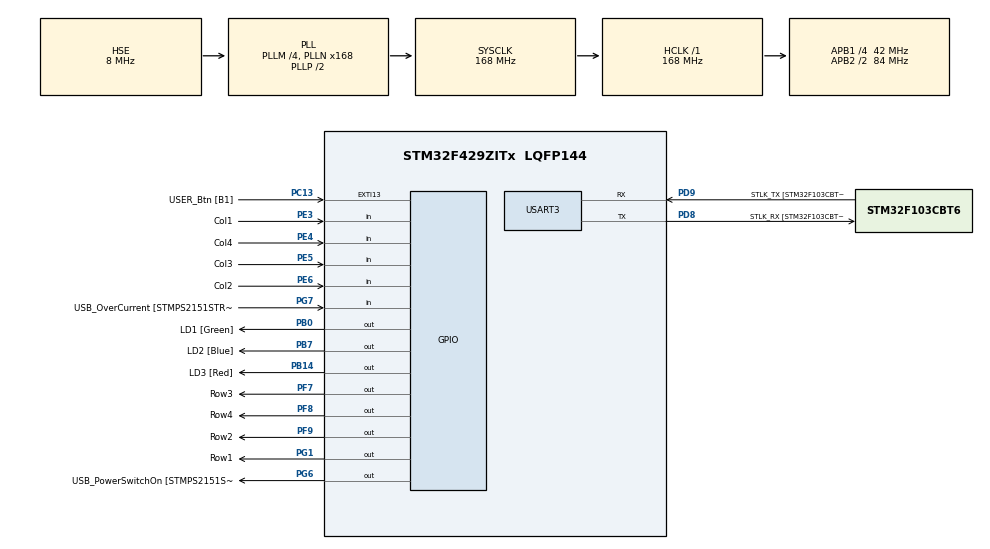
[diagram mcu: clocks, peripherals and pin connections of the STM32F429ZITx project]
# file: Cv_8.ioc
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Mcu.Family=STM32F4
Mcu.Name=STM32F429ZITx
Mcu.Package=LQFP144
NVIC.PriorityGroup=NVIC_PRIORITYGROUP_4
NVIC.TIM3_IRQn=true\:0\:0\:false\:false\:true\:true\:true
PA1.GPIO_Label=RMII_REF_CLK [LAN8742A-CZ-TR_REFCLK0]
PA1.Signal=ETH_REF_CLK
PA10.GPIO_Label=USB_ID
PA10.Signal=USB_OTG_FS_ID
PA11.GPIO_Label=USB_DM
PA11.Signal=USB_OTG_FS_DM
PA12.GPIO_Label=USB_DP
PA12.Signal=USB_OTG_FS_DP
PA13.GPIO_Label=TMS
PA13.Mode=Serial_Wire
PA13.Signal=SYS_JTMS-SWDIO
PA14.GPIO_Label=TCK
PA14.Mode=Serial_Wire
PA14.Signal=SYS_JTCK-SWCLK
PA2.GPIO_Label=RMII_MDIO [LAN8742A-CZ-TR_MDIO]
PA2.Signal=ETH_MDIO
PA7.GPIO_Label=RMII_CRS_DV [LAN8742A-CZ-TR_CRS_DV]
PA7.Signal=ETH_CRS_DV
PA8.GPIO_Label=USB_SOF [TP1]
PA8.Signal=USB_OTG_FS_SOF
PA9.GPIO_Label=USB_VBUS
PA9.Signal=USB_OTG_FS_VBUS
PB0.GPIO_Label=LD1 [Green]
PB0.Signal=GPIO_Output
PB13.GPIO_Label=RMII_TXD1 [LAN8742A-CZ-TR_TXD1]
PB13.Signal=ETH_TXD1
PB14.GPIO_Label=LD3 [Red]
PB14.Signal=GPIO_Output
PB7.GPIO_Label=LD2 [Blue]
PB7.Signal=GPIO_Output
PC1.GPIO_Label=RMII_MDC [LAN8742A-CZ-TR_MDC]
PC1.Signal=ETH_MDC
PC13.GPIO_Label=USER_Btn [B1]
PC13.Signal=GPXTI13
PC14/OSC32_IN.Mode=LSE-External-Oscillator
PC14/OSC32_IN.Signal=RCC_OSC32_IN
PC15/OSC32_OUT.Mode=LSE-External-Oscillator
PC15/OSC32_OUT.Signal=RCC_OSC32_OUT
PC4.GPIO_Label=RMII_RXD0 [LAN8742A-CZ-TR_RXD0]
PC4.Signal=ETH_RXD0
PC5.GPIO_Label=RMII_RXD1 [LAN8742A-CZ-TR_RXD1]
PC5.Signal=ETH_RXD1
PD8.GPIO_Label=STLK_RX [STM32F103CBT6_PA3]
PD8.Mode=Asynchronous
PD8.Signal=USART3_TX
PD9.GPIO_Label=STLK_TX [STM32F103CBT6_PA2]
PD9.Mode=Asynchronous
PD9.Signal=USART3_RX
PE3.GPIO_Label=Col1
PE3.GPIO_PuPd=GPIO_PULLUP
PE3.Signal=GPIO_Input
PE4.GPIO_Label=Col4
PE4.GPIO_PuPd=GPIO_PULLUP
PE4.Signal=GPIO_Input
PE5.GPIO_Label=Col3
PE5.GPIO_PuPd=GPIO_PULLUP
PE5.Signal=GPIO_Input
PE6.GPIO_Label=Col2
PE6.GPIO_PuPd=GPIO_PULLUP
PE6.Signal=GPIO_Input
PF7.GPIO_Label=Row3
PF7.GPIO_ModeDefaultOutputPP=GPIO_MODE_OUTPUT_OD
PF7.Signal=GPIO_Output
PF8.GPIO_Label=Row4
PF8.GPIO_ModeDefaultOutputPP=GPIO_MODE_OUTPUT_OD
PF8.Signal=GPIO_Output
PF9.GPIO_Label=Row2
PF9.GPIO_ModeDefaultOutputPP=GPIO_MODE_OUTPUT_OD
PF9.Signal=GPIO_Output
PG1.GPIO_Label=Row1
PG1.GPIO_ModeDefaultOutputPP=GPIO_MODE_OUTPUT_OD
PG1.Signal=GPIO_Output
PG11.GPIO_Label=RMII_TX_EN [LAN8742A-CZ-TR_TXEN]
PG11.Signal=ETH_TX_EN
PG13.GPIO_Label=RMII_TXD0 [LAN8742A-CZ-TR_TXD0]
PG13.Signal=ETH_TXD0
PG6.GPIO_Label=USB_PowerSwitchOn [STMPS2151STR_EN]
PG6.Signal=GPIO_Output
PG7.GPIO_Label=USB_OverCurrent [STMPS2151STR_FAULT]
PG7.Signal=GPIO_Input
PH0/OSC_IN.GPIO_Label=MCO [STM32F103CBT6_PA8]
PH0/OSC_IN.Mode=HSE-External-Clock-Source
PH0/OSC_IN.Signal=RCC_OSC_IN
PH1/OSC_OUT.Mode=HSE-External-Clock-Source
PH1/OSC_OUT.Signal=RCC_OSC_OUT
ProjectManager.HeapSize=0x200
ProjectManager.StackSize=0x400
ProjectManager.TargetToolchain=STM32CubeIDE
RCC.48MHZClocksFreq_Value=48000000
RCC.AHBFreq_Value=168000000
RCC.APB1CLKDivider=RCC_HCLK_DIV4
RCC.APB1Freq_Value=42000000
RCC.APB1TimFreq_Value=84000000
RCC.APB2CLKDivider=RCC_HCLK_DIV2
RCC.APB2Freq_Value=84000000
RCC.APB2TimCLKDivider=2
RCC.APB2TimFreq_Value=168000000
RCC.CortexFreq_Value=168000000
RCC.HCLKFreq_Value=168000000
RCC.HSE_VALUE=8000000
RCC.HSI_VALUE=16000000
RCC.PLLM=4
RCC.PLLMUL=RCC_PLL_MUL9
RCC.PLLN=168
RCC.PLLQ=7
RCC.PLLSourceVirtual=RCC_PLLSOURCE_HSE
RCC.PRESCALERUSB=RCC_USBCLKSOURCE_PLL_DIV1_5
RCC.SYSCLKFreq_VALUE=168000000
RCC.SYSCLKSource=RCC_SYSCLKSOURCE_PLLCLK
RCC.SYSCLKSourceVirtual=RCC_SYSCLKSOURCE_PLLCLK
RCC.USBFreq_Value=48000000
RCC.VCOOutputFreq_Value=336000000
TIM3.AutoReloadPreload=TIM_AUTORELOAD_PRELOAD_ENABLE
TIM3.Period=99
TIM3.Prescaler=8399
USART3.VirtualMode=VM_ASYNC
VP_TIM3_VS_ClockSourceINT.Mode=Internal
board=NUCLEO-F429ZI

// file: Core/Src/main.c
/* USER CODE BEGIN Header */
/**
 ******************************************************************************
 * @file           : main.c
 * @brief          : Main program body
 ******************************************************************************
 * @attention
 *
 * <h2><center>&copy; Copyright (c) 2021 STMicroelectronics.
 * All rights reserved.</center></h2>
 *
 * This software component is licensed by ST under BSD 3-Clause license,
 * the "License"; You may not use this file except in compliance with the
 * License. You may obtain a copy of the License at:
 *                        opensource.org/licenses/BSD-3-Clause
 *
 ******************************************************************************
 */
/* USER CODE END Header */
#include "main.h"

/* USER CODE BEGIN Includes */
#include <stdio.h>
/* USER CODE END Includes */

TIM_HandleTypeDef htim3;

UART_HandleTypeDef huart3;

/* USER CODE BEGIN PV */
static volatile int key;
/* USER CODE END PV */

void SystemClock_Config(void);
static void MX_GPIO_Init(void);
static void MX_USART3_UART_Init(void);
static void MX_TIM3_Init(void);

/* USER CODE BEGIN 0 */

int __io_putchar(int ch)
{
	ITM_SendChar(ch);
	return 0;
}
/* USER CODE END 0 */

int main(void)
{
	/* USER CODE BEGIN 1 */
	const int code[5] = {7, 9, 3, 2, 12};
	uint8_t mistake = 0;
	uint8_t var = 0;
	static uint16_t timeout = 2000;
	static uint32_t tick;
	/* USER CODE END 1 */

	/* MCU Configuration--------------------------------------------------------*/

	/* Reset of all peripherals, Initializes the Flash interface and the Systick. */
	HAL_Init();

	/* Configure the system clock */
	SystemClock_Config();

	/* Initialize all configured peripherals */
	MX_GPIO_Init();
	MX_USART3_UART_Init();
	MX_TIM3_Init();
	/* USER CODE BEGIN 2 */
	HAL_TIM_Base_Start_IT(&htim3);
	/* USER CODE END 2 */

	/* Infinite loop */
	/* USER CODE BEGIN WHILE */
	while (1)
	{
		//	  HAL_GPIO_TogglePin(LD1_GPIO_Port, LD1_Pin);
		//	  HAL_Delay(250);
		if (key != -1){
			tick = HAL_GetTick();
			HAL_Delay(250);
			if ((key == code[var]) && key != 24){
				var++;
			}
			else if((key != 24)){
				mistake = 1;
				var++;
			}
			else{
				mistake = 0;
				var = 0;
			}
			if(var == sizeof(code)/sizeof(code[0])){
				if (mistake == 0){
					printf("Verified \n");
					HAL_GPIO_WritePin(LD1_GPIO_Port, LD1_Pin, 1);
				}
				else{
					HAL_GPIO_WritePin(LD1_GPIO_Port, LD1_Pin, 0);
					printf("Fatal Error \n");
				}
				var = 0;

			}
			key = -1;
		}
		if(HAL_GetTick() > tick + timeout){
			HAL_GPIO_WritePin(LD1_GPIO_Port, LD1_Pin, 0);
			tick = HAL_GetTick();
			var = 0;
		}
		/* USER CODE END WHILE */

	}
}

void SystemClock_Config(void)
{
	RCC_OscInitTypeDef RCC_OscInitStruct = {0};
	RCC_ClkInitTypeDef RCC_ClkInitStruct = {0};

	/** Configure the main internal regulator output voltage
	 */
	__HAL_RCC_PWR_CLK_ENABLE();
	__HAL_PWR_VOLTAGESCALING_CONFIG(PWR_REGULATOR_VOLTAGE_SCALE1);
	/** Initializes the RCC Oscillators according to the specified parameters
	 * in the RCC_OscInitTypeDef structure.
	 */
	RCC_OscInitStruct.OscillatorType = RCC_OSCILLATORTYPE_HSE;
	RCC_OscInitStruct.HSEState = RCC_HSE_BYPASS;
	RCC_OscInitStruct.PLL.PLLState = RCC_PLL_ON;
	RCC_OscInitStruct.PLL.PLLSource = RCC_PLLSOURCE_HSE;
	RCC_OscInitStruct.PLL.PLLM = 4;
	RCC_OscInitStruct.PLL.PLLN = 168;
	RCC_OscInitStruct.PLL.PLLP = RCC_PLLP_DIV2;
	RCC_OscInitStruct.PLL.PLLQ = 7;
	if (HAL_RCC_OscConfig(&RCC_OscInitStruct) != HAL_OK)
	{
		Error_Handler();
	}
	/** Initializes the CPU, AHB and APB buses clocks
	 */
	RCC_ClkInitStruct.ClockType = RCC_CLOCKTYPE_HCLK|RCC_CLOCKTYPE_SYSCLK
			|RCC_CLOCKTYPE_PCLK1|RCC_CLOCKTYPE_PCLK2;
	RCC_ClkInitStruct.SYSCLKSource = RCC_SYSCLKSOURCE_PLLCLK;
	RCC_ClkInitStruct.AHBCLKDivider = RCC_SYSCLK_DIV1;
	RCC_ClkInitStruct.APB1CLKDivider = RCC_HCLK_DIV4;
	RCC_ClkInitStruct.APB2CLKDivider = RCC_HCLK_DIV2;

	if (HAL_RCC_ClockConfig(&RCC_ClkInitStruct, FLASH_LATENCY_5) != HAL_OK)
	{
		Error_Handler();
	}
}

static void MX_TIM3_Init(void)
{

	TIM_ClockConfigTypeDef sClockSourceConfig = {0};
	TIM_MasterConfigTypeDef sMasterConfig = {0};

	htim3.Instance = TIM3;
	htim3.Init.Prescaler = 8399;
	htim3.Init.CounterMode = TIM_COUNTERMODE_UP;
	htim3.Init.Period = 99;
	htim3.Init.ClockDivision = TIM_CLOCKDIVISION_DIV1;
	htim3.Init.AutoReloadPreload = TIM_AUTORELOAD_PRELOAD_ENABLE;
	if (HAL_TIM_Base_Init(&htim3) != HAL_OK)
	{
		Error_Handler();
	}
	sClockSourceConfig.ClockSource = TIM_CLOCKSOURCE_INTERNAL;
	if (HAL_TIM_ConfigClockSource(&htim3, &sClockSourceConfig) != HAL_OK)
	{
		Error_Handler();
	}
	sMasterConfig.MasterOutputTrigger = TIM_TRGO_RESET;
	sMasterConfig.MasterSlaveMode = TIM_MASTERSLAVEMODE_DISABLE;
	if (HAL_TIMEx_MasterConfigSynchronization(&htim3, &sMasterConfig) != HAL_OK)
	{
		Error_Handler();
	}

}

static void MX_USART3_UART_Init(void)
{

	huart3.Instance = USART3;
	huart3.Init.BaudRate = 115200;
	huart3.Init.WordLength = UART_WORDLENGTH_8B;
	huart3.Init.StopBits = UART_STOPBITS_1;
	huart3.Init.Parity = UART_PARITY_NONE;
	huart3.Init.Mode = UART_MODE_TX_RX;
	huart3.Init.HwFlowCtl = UART_HWCONTROL_NONE;
	huart3.Init.OverSampling = UART_OVERSAMPLING_16;
	if (HAL_UART_Init(&huart3) != HAL_OK)
	{
		Error_Handler();
	}

}

static void MX_GPIO_Init(void)
{
	GPIO_InitTypeDef GPIO_InitStruct = {0};

	/* GPIO Ports Clock Enable */
	__HAL_RCC_GPIOE_CLK_ENABLE();
	__HAL_RCC_GPIOC_CLK_ENABLE();
	__HAL_RCC_GPIOF_CLK_ENABLE();
	__HAL_RCC_GPIOH_CLK_ENABLE();
	__HAL_RCC_GPIOA_CLK_ENABLE();
	__HAL_RCC_GPIOB_CLK_ENABLE();
	__HAL_RCC_GPIOG_CLK_ENABLE();
	__HAL_RCC_GPIOD_CLK_ENABLE();

	/*Configure GPIO pin Output Level */
	HAL_GPIO_WritePin(GPIOF, Row3_Pin|Row4_Pin|Row2_Pin, GPIO_PIN_RESET);

	/*Configure GPIO pin Output Level */
	HAL_GPIO_WritePin(GPIOB, LD1_Pin|LD3_Pin|LD2_Pin, GPIO_PIN_RESET);

	/*Configure GPIO pin Output Level */
	HAL_GPIO_WritePin(GPIOG, Row1_Pin|USB_PowerSwitchOn_Pin, GPIO_PIN_RESET);

	/*Configure GPIO pins : Col1_Pin Col4_Pin Col3_Pin Col2_Pin */
	GPIO_InitStruct.Pin = Col1_Pin|Col4_Pin|Col3_Pin|Col2_Pin;
	GPIO_InitStruct.Mode = GPIO_MODE_INPUT;
	GPIO_InitStruct.Pull = GPIO_PULLUP;
	HAL_GPIO_Init(GPIOE, &GPIO_InitStruct);

	/*Configure GPIO pin : USER_Btn_Pin */
	GPIO_InitStruct.Pin = USER_Btn_Pin;
	GPIO_InitStruct.Mode = GPIO_MODE_IT_RISING;
	GPIO_InitStruct.Pull = GPIO_NOPULL;
	HAL_GPIO_Init(USER_Btn_GPIO_Port, &GPIO_InitStruct);

	/*Configure GPIO pins : Row3_Pin Row4_Pin Row2_Pin */
	GPIO_InitStruct.Pin = Row3_Pin|Row4_Pin|Row2_Pin;
	GPIO_InitStruct.Mode = GPIO_MODE_OUTPUT_OD;
	GPIO_InitStruct.Pull = GPIO_NOPULL;
	GPIO_InitStruct.Speed = GPIO_SPEED_FREQ_LOW;
	HAL_GPIO_Init(GPIOF, &GPIO_InitStruct);

	/*Configure GPIO pins : RMII_MDC_Pin RMII_RXD0_Pin RMII_RXD1_Pin */
	GPIO_InitStruct.Pin = RMII_MDC_Pin|RMII_RXD0_Pin|RMII_RXD1_Pin;
	GPIO_InitStruct.Mode = GPIO_MODE_AF_PP;
	GPIO_InitStruct.Pull = GPIO_NOPULL;
	GPIO_InitStruct.Speed = GPIO_SPEED_FREQ_VERY_HIGH;
	GPIO_InitStruct.Alternate = GPIO_AF11_ETH;
	HAL_GPIO_Init(GPIOC, &GPIO_InitStruct);

	/*Configure GPIO pins : RMII_REF_CLK_Pin RMII_MDIO_Pin RMII_CRS_DV_Pin */
	GPIO_InitStruct.Pin = RMII_REF_CLK_Pin|RMII_MDIO_Pin|RMII_CRS_DV_Pin;
	GPIO_InitStruct.Mode = GPIO_MODE_AF_PP;
	GPIO_InitStruct.Pull = GPIO_NOPULL;
	GPIO_InitStruct.Speed = GPIO_SPEED_FREQ_VERY_HIGH;
	GPIO_InitStruct.Alternate = GPIO_AF11_ETH;
	HAL_GPIO_Init(GPIOA, &GPIO_InitStruct);

	/*Configure GPIO pins : LD1_Pin LD3_Pin LD2_Pin */
	GPIO_InitStruct.Pin = LD1_Pin|LD3_Pin|LD2_Pin;
	GPIO_InitStruct.Mode = GPIO_MODE_OUTPUT_PP;
	GPIO_InitStruct.Pull = GPIO_NOPULL;
	GPIO_InitStruct.Speed = GPIO_SPEED_FREQ_LOW;
	HAL_GPIO_Init(GPIOB, &GPIO_InitStruct);

	/*Configure GPIO pin : Row1_Pin */
	GPIO_InitStruct.Pin = Row1_Pin;
	GPIO_InitStruct.Mode = GPIO_MODE_OUTPUT_OD;
	GPIO_InitStruct.Pull = GPIO_NOPULL;
	GPIO_InitStruct.Speed = GPIO_SPEED_FREQ_LOW;
	HAL_GPIO_Init(Row1_GPIO_Port, &GPIO_InitStruct);

	/*Configure GPIO pin : RMII_TXD1_Pin */
	GPIO_InitStruct.Pin = RMII_TXD1_Pin;
	GPIO_InitStruct.Mode = GPIO_MODE_AF_PP;
	GPIO_InitStruct.Pull = GPIO_NOPULL;
	GPIO_InitStruct.Speed = GPIO_SPEED_FREQ_VERY_HIGH;
	GPIO_InitStruct.Alternate = GPIO_AF11_ETH;
	HAL_GPIO_Init(RMII_TXD1_GPIO_Port, &GPIO_InitStruct);

	/*Configure GPIO pin : USB_PowerSwitchOn_Pin */
	GPIO_InitStruct.Pin = USB_PowerSwitchOn_Pin;
	GPIO_InitStruct.Mode = GPIO_MODE_OUTPUT_PP;
	GPIO_InitStruct.Pull = GPIO_NOPULL;
	GPIO_InitStruct.Speed = GPIO_SPEED_FREQ_LOW;
	HAL_GPIO_Init(USB_PowerSwitchOn_GPIO_Port, &GPIO_InitStruct);

	/*Configure GPIO pin : USB_OverCurrent_Pin */
	GPIO_InitStruct.Pin = USB_OverCurrent_Pin;
	GPIO_InitStruct.Mode = GPIO_MODE_INPUT;
	GPIO_InitStruct.Pull = GPIO_NOPULL;
	HAL_GPIO_Init(USB_OverCurrent_GPIO_Port, &GPIO_InitStruct);

	/*Configure GPIO pins : USB_SOF_Pin USB_ID_Pin USB_DM_Pin USB_DP_Pin */
	GPIO_InitStruct.Pin = USB_SOF_Pin|USB_ID_Pin|USB_DM_Pin|USB_DP_Pin;
	GPIO_InitStruct.Mode = GPIO_MODE_AF_PP;
	GPIO_InitStruct.Pull = GPIO_NOPULL;
	GPIO_InitStruct.Speed = GPIO_SPEED_FREQ_VERY_HIGH;
	GPIO_InitStruct.Alternate = GPIO_AF10_OTG_FS;
	HAL_GPIO_Init(GPIOA, &GPIO_InitStruct);

	/*Configure GPIO pin : USB_VBUS_Pin */
	GPIO_InitStruct.Pin = USB_VBUS_Pin;
	GPIO_InitStruct.Mode = GPIO_MODE_INPUT;
	GPIO_InitStruct.Pull = GPIO_NOPULL;
	HAL_GPIO_Init(USB_VBUS_GPIO_Port, &GPIO_InitStruct);

	/*Configure GPIO pins : RMII_TX_EN_Pin RMII_TXD0_Pin */
	GPIO_InitStruct.Pin = RMII_TX_EN_Pin|RMII_TXD0_Pin;
	GPIO_InitStruct.Mode = GPIO_MODE_AF_PP;
	GPIO_InitStruct.Pull = GPIO_NOPULL;
	GPIO_InitStruct.Speed = GPIO_SPEED_FREQ_VERY_HIGH;
	GPIO_InitStruct.Alternate = GPIO_AF11_ETH;
	HAL_GPIO_Init(GPIOG, &GPIO_InitStruct);

}

/* USER CODE BEGIN 4 */
void HAL_TIM_PeriodElapsedCallback(TIM_HandleTypeDef *htim)
{
	static int row = 0;
	static const int keyboard[4][4] = {
			{ 1, 2, 3, 21 },
			{ 4, 5, 6, 22 },
			{ 7, 8, 9, 23 },
			{ 11, 0, 12, 24 },
	};
	if (key == -1) {
		if (HAL_GPIO_ReadPin(Col1_GPIO_Port, Col1_Pin) == GPIO_PIN_RESET) key = keyboard[row][0];
		if (HAL_GPIO_ReadPin(Col2_GPIO_Port, Col2_Pin) == GPIO_PIN_RESET) key = keyboard[row][1];
		if (HAL_GPIO_ReadPin(Col3_GPIO_Port, Col3_Pin) == GPIO_PIN_RESET) key = keyboard[row][2];
		if (HAL_GPIO_ReadPin(Col4_GPIO_Port, Col4_Pin) == GPIO_PIN_RESET) key = keyboard[row][3];
	}
	HAL_GPIO_WritePin(Row1_GPIO_Port, Row1_Pin, GPIO_PIN_SET);
	HAL_GPIO_WritePin(Row2_GPIO_Port, Row2_Pin, GPIO_PIN_SET);
	HAL_GPIO_WritePin(Row3_GPIO_Port, Row3_Pin, GPIO_PIN_SET);
	HAL_GPIO_WritePin(Row4_GPIO_Port, Row4_Pin, GPIO_PIN_SET);
	switch (row) {
	case 0: row = 1; HAL_GPIO_WritePin(Row2_GPIO_Port, Row2_Pin, GPIO_PIN_RESET); break;
	case 1: row = 2; HAL_GPIO_WritePin(Row3_GPIO_Port, Row3_Pin, GPIO_PIN_RESET); break;
	case 2: row = 3; HAL_GPIO_WritePin(Row4_GPIO_Port, Row4_Pin, GPIO_PIN_RESET); break;
	case 3: row = 0; HAL_GPIO_WritePin(Row1_GPIO_Port, Row1_Pin, GPIO_PIN_RESET); break;
	}
}
/* USER CODE END 4 */

void Error_Handler(void)
{
	__disable_irq();
	while (1)
	{
	}
}

/************************ (C) COPYRIGHT STMicroelectronics *****END OF FILE****/
